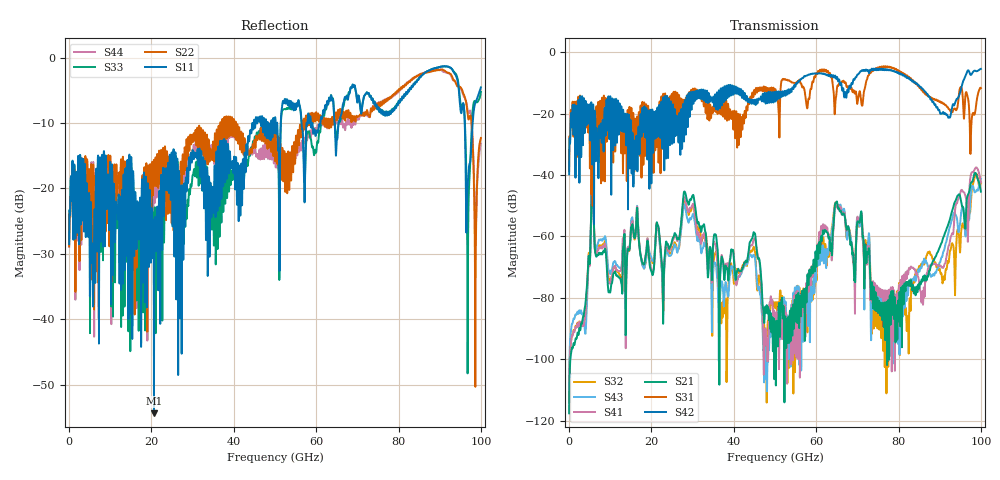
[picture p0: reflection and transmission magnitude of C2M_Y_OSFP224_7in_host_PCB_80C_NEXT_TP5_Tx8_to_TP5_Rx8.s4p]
# GHz S RI R 45
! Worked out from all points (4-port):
!   4000 points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, 25 MHz to 100 GHz, reference 45 ohm
!   strongest paths, dB at 25 MHz, 25.02 GHz, 50.02 GHz, 75.03 GHz, 100 GHz:
!     S42: -39.8, -26.9, -14.3, -5.5, -5.4
!     S31: -38.7, -14.2, -12.1, -5.0, -11.6
!     S21: -117.6, -61.4, -87.8, -83.1, -45.4
!     S41: -114.1, -62.2, -86.4, -77.7, -42.3
!     S43: -110.6, -65.2, -86.8, -79.4, -41.2
!     S32: -113.8, -64.4, -83.3, -84.3, -42.6
!   lowest |S11| = -54.4 dB at 20.62 GHz (marker M1), VSWR 1.00, Z = 45 - j0.169 ohm
!   |S11| at or under -10 dB: start of sweep to 44.52 GHz; 59.09 GHz to 61.04 GHz (1.955 GHz wide, 3.26 % of centre); 96.08 GHz to 98 GHz (1.927 GHz wide, 1.99 % of centre) (the widest 3 of 20)
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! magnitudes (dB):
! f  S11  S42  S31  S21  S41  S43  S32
! 25 MHz  -28.5  -39.8  -38.7  -117.6  -114.1  -110.6  -113.8
! 5.7 GHz  -30.6  -23.0  -34.2  -41.5  -41.5  -41.3  -41.4
! 20.62 GHz  -54.4  -19.5  -26.0  -70.2  -69.6  -67.7  -68.1
! 57.5 GHz  -12.1  -7.7  -15.8  -77.0  -78.5  -83.4  -89.5
! 65.08 GHz  -12.5  -8.0  -11.4  -48.7  -49.2  -49.9  -49.5
! 85.85 GHz  -2.6  -11.9  -12.5  -74.2  -78.9  -68.2  -69.2
! 100 GHz  -4.6  -5.4  -11.6  -45.4  -42.3  -41.2  -42.6
